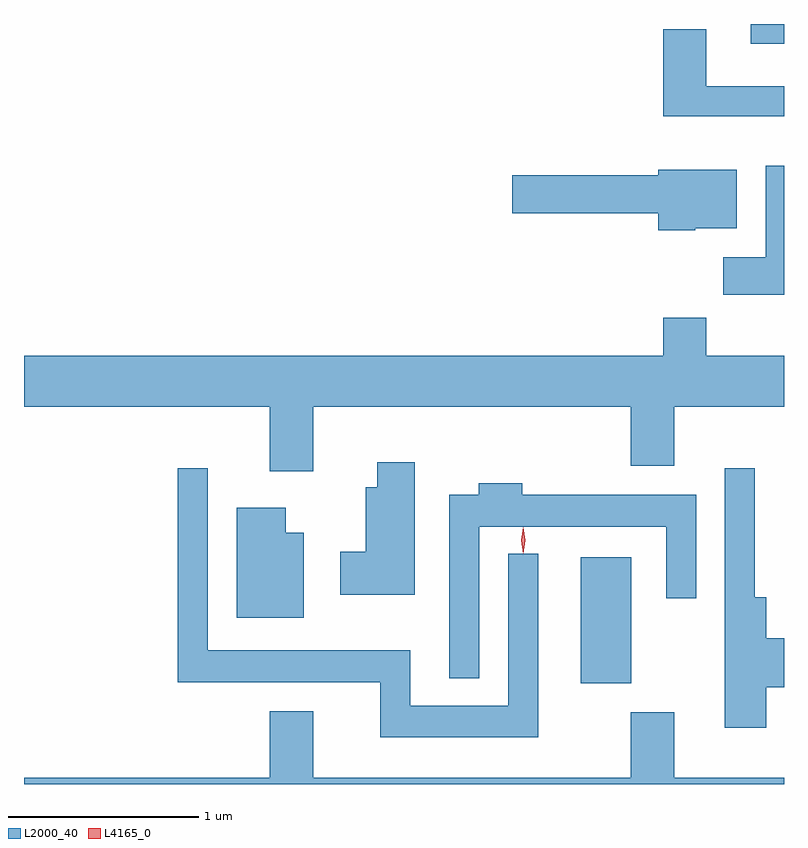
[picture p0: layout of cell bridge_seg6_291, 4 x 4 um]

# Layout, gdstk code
import gdstk
lib = gdstk.Library(unit=1e-6, precision=1e-09)
def R(c, l, rs):  # rectangles x0, y0, x1, y1
    for r in rs: c.add(gdstk.rectangle(r[:2], r[2:], *l))
def P(c, l, *ps):  # polygons
    for p in ps: c.add(gdstk.Polygon(p, *l))
L2000_40 = (2000, 40)
L4165_0 = (4165, 0)

bridge_seg6_291 = lib.new_cell('bridge_seg6_291')
R(bridge_seg6_291, L2000_40, [(1304.536,1537.481,1304.804,1538.144), (1305.431,1540.846,1305.607,1540.951)])
P(bridge_seg6_291, L2000_40, [(1305.607,1540.624),(1305.199,1540.624),(1305.199,1540.924),(1304.971,1540.924),(1304.971,1540.466),(1305.607,1540.466)],
  [(1305.607,1540.204),(1305.511,1540.204),(1305.511,1539.724),(1305.286,1539.724),(1305.286,1539.526),(1305.607,1539.526)],
  [(1305.14,1539.876),(1305.359,1539.876),(1305.359,1540.184),(1304.946,1540.184),(1304.946,1540.154),(1304.176,1540.154),(1304.176,1539.956),(1304.946,1539.956),(1304.946,1539.866),(1305.14,1539.866)],
  [(1303.129,1538.936),(1304.801,1538.936),(1304.801,1538.626),(1305.029,1538.626),(1305.029,1538.936),(1305.607,1538.936),(1305.607,1539.204),(1305.199,1539.204),(1305.199,1539.404),(1304.971,1539.404),(1304.971,1539.204),(1301.607,1539.204),(1301.607,1538.936),(1302.901,1538.936),(1302.901,1538.596),(1303.129,1538.596)],
  [(1303.664,1538.644),(1303.466,1538.644),(1303.466,1538.514),(1303.406,1538.514),(1303.406,1538.174),(1303.271,1538.174),(1303.271,1537.946),(1303.664,1537.946)],
  [(1305.514,1537.461),(1305.607,1537.461),(1305.607,1537.719),(1305.514,1537.719),(1305.514,1537.934),(1305.454,1537.934),(1305.454,1538.613),(1305.296,1538.613),(1305.296,1537.246),(1305.514,1537.246)],
  [(1304.314,1538.163),(1304.156,1538.163),(1304.156,1537.364),(1303.639,1537.364),(1303.639,1537.654),(1302.574,1537.654),(1302.574,1538.613),(1302.416,1538.613),(1302.416,1537.486),(1303.481,1537.486),(1303.481,1537.196),(1304.314,1537.196)],
  [(1304.004,1538.306),(1304.986,1538.306),(1304.986,1537.928),(1305.144,1537.928),(1305.144,1538.474),(1304.229,1538.474),(1304.229,1538.534),(1304.001,1538.534),(1304.001,1538.474),(1303.846,1538.474),(1303.846,1537.508),(1304.004,1537.508)],
  [(1303.079,1538.274),(1302.984,1538.274),(1302.984,1538.404),(1302.726,1538.404),(1302.726,1537.826),(1303.079,1537.826)],
  [(1305.607,1536.984),(1305.029,1536.984),(1305.029,1537.329),(1304.801,1537.329),(1304.801,1536.984),(1303.129,1536.984),(1303.129,1537.334),(1302.901,1537.334),(1302.901,1536.984),(1301.607,1536.984),(1301.607,1536.951),(1305.607,1536.951)])
P(bridge_seg6_291, L4165_0, [(1304.234,1538.164),(1304.234,1538.164),(1304.224,1538.233),(1304.234,1538.302),(1304.234,1538.303),(1304.235,1538.302),(1304.244,1538.233),(1304.235,1538.164)])

lib.write_gds('bridge_seg6_291.gds')
